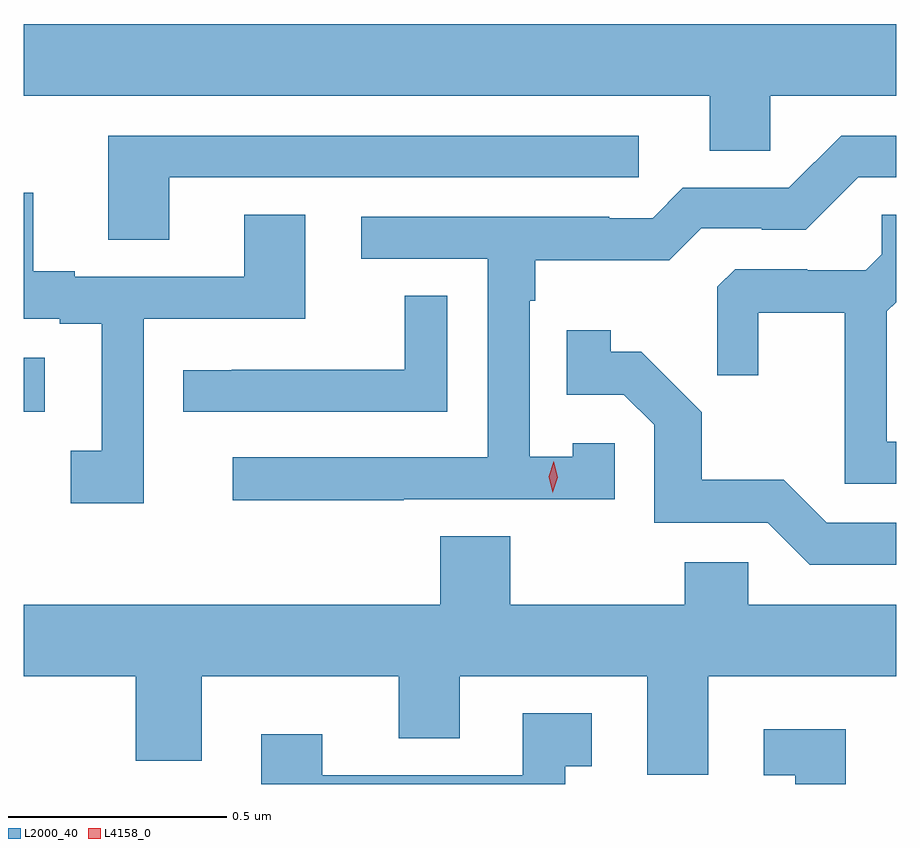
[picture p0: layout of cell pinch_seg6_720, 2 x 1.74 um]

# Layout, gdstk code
import gdstk
lib = gdstk.Library(unit=1e-6, precision=1e-09)
def R(c, l, rs):  # rectangles x0, y0, x1, y1
    for r in rs: c.add(gdstk.rectangle(r[:2], r[2:], *l))
def P(c, l, *ps):  # polygons
    for p in ps: c.add(gdstk.Polygon(p, *l))
L2000_40 = (2000, 40)
L4158_0 = (4158, 0)

pinch_seg6_720 = lib.new_cell('pinch_seg6_720')
R(pinch_seg6_720, L2000_40, [(433.798,947.943,433.846,948.067)])
P(pinch_seg6_720, L2000_40, [(435.51,948.668),(435.798,948.668),(435.798,948.832),(433.798,948.832),(433.798,948.668),(435.371,948.668),(435.371,948.541),(435.51,948.541)],
  [(434.669,947.742),(435.153,947.742),(435.153,947.871),(435.057,947.871),(435.057,947.839),(434.958,947.839),(434.958,948.197),(434.971,948.197),(434.971,948.29),(435.278,948.29),(435.351,948.363),(435.49,948.363),(435.49,948.36),(435.591,948.36),(435.711,948.48),(435.798,948.48),(435.798,948.576),(435.672,948.576),(435.552,948.456),(435.309,948.456),(435.24,948.387),(435.14,948.387),(435.14,948.39),(434.571,948.39),(434.571,948.294),(434.862,948.294),(434.862,947.838),(434.277,947.838),(434.277,947.74),(434.669,947.74)],
  [(434.131,948.48),(435.208,948.48),(435.208,948.576),(433.991,948.576),(433.991,948.337),(434.131,948.337)],
  [(434.073,948.156),(434.443,948.156),(434.443,948.395),(434.303,948.395),(434.303,948.252),(433.915,948.252),(433.915,948.265),(433.819,948.265),(433.819,948.445),(433.798,948.445),(433.798,948.156),(433.88,948.156),(433.88,948.144),(433.976,948.144),(433.976,947.853),(433.905,947.853),(433.905,947.733),(434.073,947.733)],
  [(435.798,947.874),(435.777,947.874),(435.777,948.173),(435.798,948.194),(435.798,948.395),(435.765,948.395),(435.765,948.304),(435.728,948.267),(435.594,948.267),(435.594,948.27),(435.429,948.27),(435.388,948.229),(435.388,948.027),(435.482,948.027),(435.482,948.17),(435.68,948.17),(435.68,947.778),(435.798,947.778)],
  [(434.769,948.209),(434.671,948.209),(434.671,948.039),(434.275,948.039),(434.275,948.038),(434.163,948.038),(434.163,947.943),(434.769,947.943)],
  [(435.798,947.688),(435.639,947.688),(435.541,947.787),(435.352,947.787),(435.352,947.942),(435.214,948.08),(435.144,948.08),(435.144,948.13),(435.043,948.13),(435.043,947.982),(435.174,947.982),(435.243,947.913),(435.243,947.688),(435.504,947.688),(435.6,947.592),(435.798,947.592)],
  [(435.367,947.336),(435.798,947.336),(435.798,947.5),(435.459,947.5),(435.459,947.598),(435.313,947.598),(435.313,947.5),(434.913,947.5),(434.913,947.657),(434.753,947.657),(434.753,947.5),(433.798,947.5),(433.798,947.336),(434.054,947.336),(434.054,947.142),(434.206,947.142),(434.206,947.336),(434.657,947.336),(434.657,947.194),(434.797,947.194),(434.797,947.336),(435.227,947.336),(435.227,947.11),(435.367,947.11)],
  [(435.039,947.13),(435.1,947.13),(435.1,947.251),(434.942,947.251),(434.942,947.109),(434.482,947.109),(434.482,947.203),(434.342,947.203),(434.342,947.089),(435.039,947.089)],
  [(435.683,947.215),(435.495,947.215),(435.495,947.109),(435.567,947.109),(435.567,947.089),(435.683,947.089)])
P(pinch_seg6_720, L4158_0, [(435.011,947.757),(435.011,947.758),(435.002,947.794),(435.013,947.829),(435.013,947.829),(435.013,947.829),(435.022,947.793),(435.011,947.758)])

lib.write_gds('pinch_seg6_720.gds')
